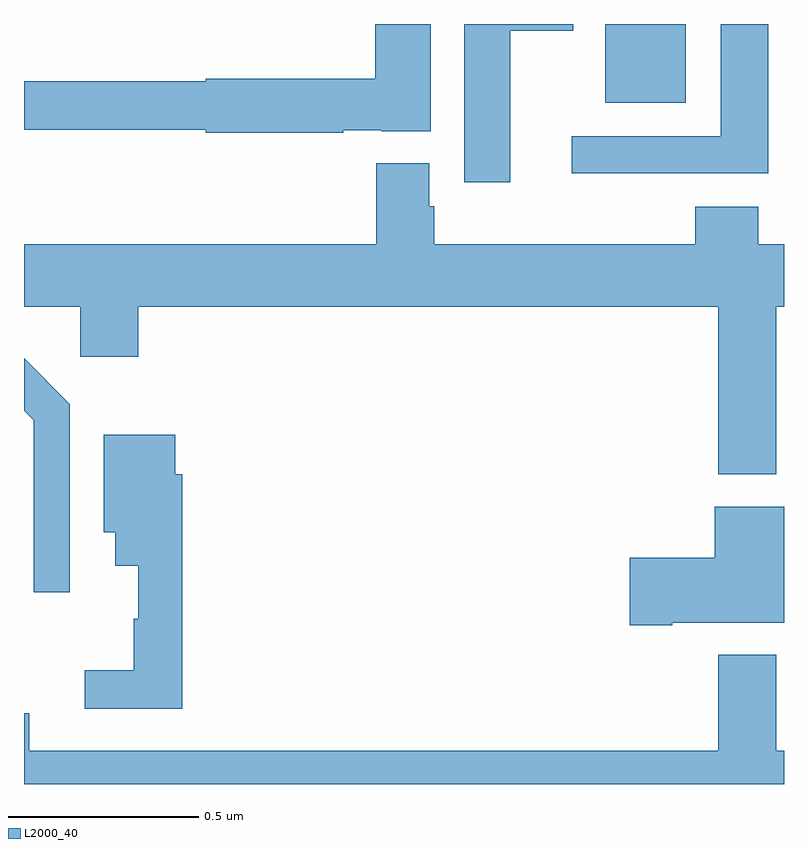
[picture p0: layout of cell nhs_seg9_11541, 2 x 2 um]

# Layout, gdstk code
import gdstk
lib = gdstk.Library(unit=1e-6, precision=1e-09)
def R(c, l, rs):  # rectangles x0, y0, x1, y1
    for r in rs: c.add(gdstk.rectangle(r[:2], r[2:], *l))
def P(c, l, *ps):  # polygons
    for p in ps: c.add(gdstk.Polygon(p, *l))
L2000_40 = (2000, 40)

nhs_seg9_11541 = lib.new_cell('nhs_seg9_11541')
R(nhs_seg9_11541, L2000_40, [(258.53,1194.293,258.742,1194.5)])
P(nhs_seg9_11541, L2000_40, [(257.84,1194.221),(257.94,1194.221),(257.94,1194.218),(258.07,1194.218),(258.07,1194.5),(257.924,1194.5),(257.924,1194.356),(257.478,1194.356),(257.478,1194.35),(257,1194.35),(257,1194.222),(257.478,1194.222),(257.478,1194.214),(257.84,1194.214)],
  [(258.28,1194.482),(258.445,1194.482),(258.445,1194.5),(258.158,1194.5),(258.158,1194.084),(258.28,1194.084)],
  [(258.959,1194.5),(258.833,1194.5),(258.833,1194.204),(258.441,1194.204),(258.441,1194.107),(258.959,1194.107)],
  [(258.979,1193.756),(259,1193.756),(259,1193.92),(258.932,1193.92),(258.932,1194.019),(258.767,1194.019),(258.767,1193.92),(258.08,1193.92),(258.08,1194.021),(258.067,1194.021),(258.067,1194.133),(257.927,1194.133),(257.927,1193.92),(257,1193.92),(257,1193.756),(257.148,1193.756),(257.148,1193.625),(257.3,1193.625),(257.3,1193.756),(258.827,1193.756),(258.827,1193.315),(258.979,1193.315)],
  [(257.121,1193.499),(257,1193.62),(257,1193.482),(257.025,1193.457),(257.025,1193.004),(257.121,1193.004)],
  [(257.417,1193.315),(257.398,1193.315),(257.398,1193.419),(257.21,1193.419),(257.21,1193.162),(257.24,1193.162),(257.24,1193.075),(257.3,1193.075),(257.3,1192.935),(257.289,1192.935),(257.289,1192.799),(257.16,1192.799),(257.16,1192.698),(257.417,1192.698)],
  [(258.706,1192.925),(259,1192.925),(259,1193.23),(258.818,1193.23),(258.818,1193.096),(258.594,1193.096),(258.594,1192.918),(258.706,1192.918)],
  [(259,1192.588),(258.979,1192.588),(258.979,1192.84),(258.827,1192.84),(258.827,1192.588),(257.014,1192.588),(257.014,1192.686),(257,1192.686),(257,1192.5),(259,1192.5)])

lib.write_gds('nhs_seg9_11541.gds')
